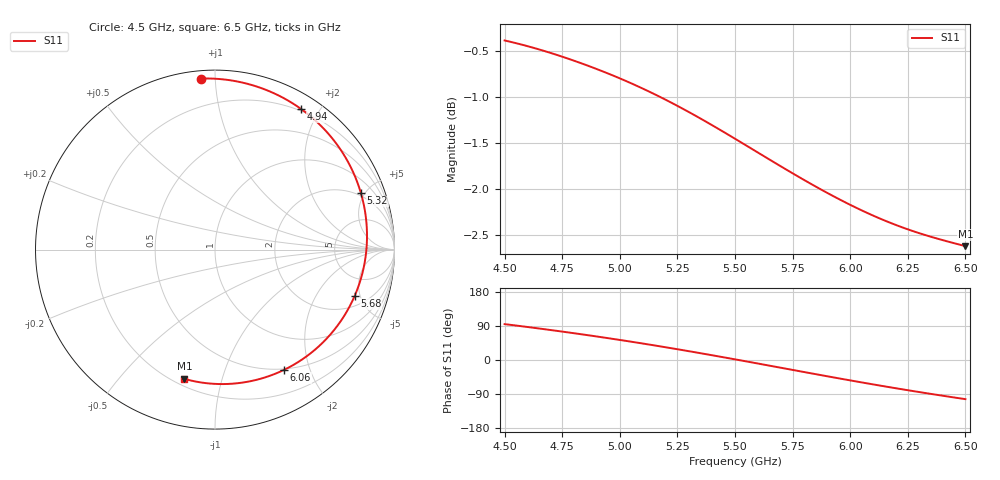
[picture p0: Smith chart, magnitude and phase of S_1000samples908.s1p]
! TOUCHSTONE file generated by CST MICROWAVE STUDIO
! Date and time: Sat Oct 29 18:36:09 2022
! Project name: L.cst
! Parameters = {Di=1.27; Epsilon_r=1.56; InnerDiameter=1.27; Length=2; Lf=10; Lg=60; OuterConductorThickness=0.2921; OuterDiameter=3.6; Wf=3; Wp=41.2; de=1.5; df=6.8; g=0.8; gx=4.38179; gy=3.77143; h=2.34; hf=1.524; px=12.3036; py=8.01069; w=9.7; wx=7.92182; wy=4.23926}
! Header version: 2018
! Port assignment regex: !\s*Touchstone port\s*([0-9]+)\s*=\s*(CST MWS port|CST DS port)\s*([0-9]+|Zmin|Zmax)\s*\(\"(.*)\"\)(\s*mode\s*([0-9]+))?.*
! Touchstone port assignment:
! Touchstone port 1 = CST MWS port 1 ("")
# GHz S DB R 50
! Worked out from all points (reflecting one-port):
!   101 points, 4.5 GHz to 6.5 GHz, reference 50 ohm
!   lowest |S11| = -2.6 dB at 6.5 GHz (marker M1), VSWR 6.69, Z = 12 - j38.1 ohm
!   phase of S11 starts at 95 deg and turns -198 deg over the sweep
!   S11 on the Smith chart (normalised r, x): 4.5 GHz: 0.04, +0.92; 4.94 GHz: 0.18, +1.77; 5.32 GHz: 1.80, +4.70; 5.68 GHz: 2.84, -4.46; 6.06 GHz: 0.49, -1.62; 6.5 GHz: 0.24, -0.76
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4.5  -0.39 94.7
4.58  -0.44 88.6
4.64  -0.48 83.9
4.7  -0.52 79.1
4.76  -0.57 74.1
4.86  -0.66 65.6
4.94  -0.74 58.5
5  -0.80 52.9
5.06  -0.87 47.3
5.14  -0.96 39.5
5.2  -1.03 33.5
5.26  -1.11 27.4
5.32  -1.19 21.1
5.42  -1.34 10.4
5.5  -1.45 1.7
5.58  -1.57 -7.1
5.68  -1.72 -18.3
5.76  -1.84 -27.3
5.82  -1.93 -34.0
5.88  -2.01 -40.7
5.94  -2.09 -47.3
6  -2.17 -53.8
6.06  -2.24 -60.2
6.16  -2.35 -70.6
6.26  -2.44 -80.7
6.32  -2.49 -86.6
6.38  -2.54 -92.3
6.5  -2.62 -103.3
